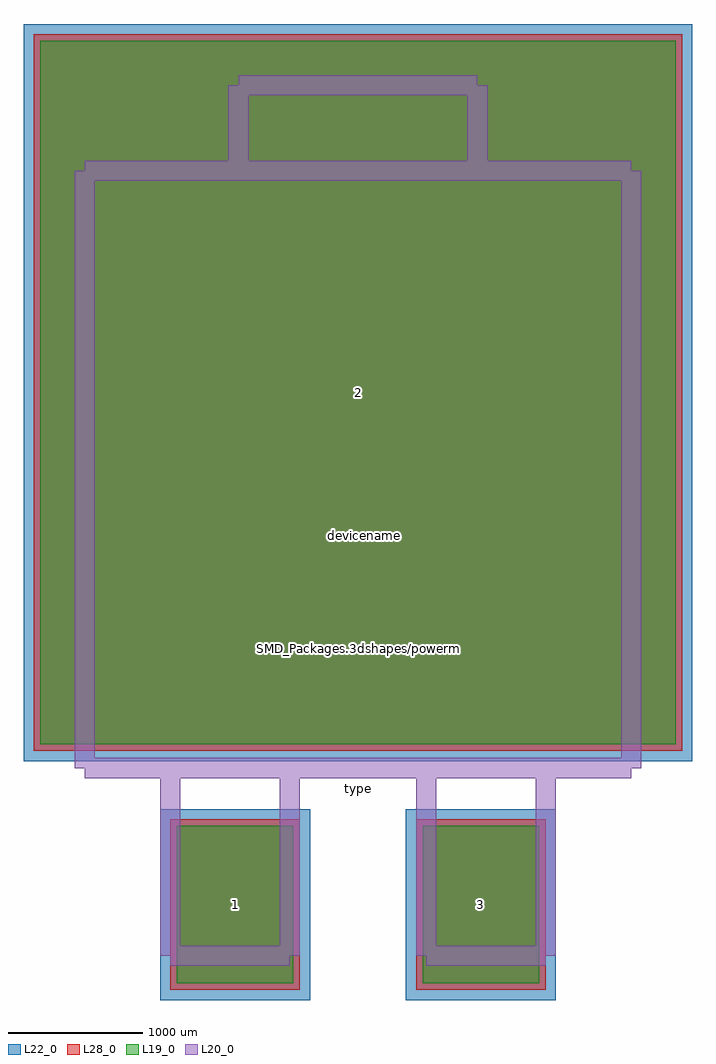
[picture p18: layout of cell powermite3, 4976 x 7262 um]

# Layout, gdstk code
import gdstk
lib = gdstk.Library(unit=1e-6, precision=1e-09)
def R(c, l, rs):  # rectangles x0, y0, x1, y1
    for r in rs: c.add(gdstk.rectangle(r[:2], r[2:], *l))
L19_0 = (19, 0)
L20_0 = (20, 0)
L22_0 = (22, 0)
L28_0 = (28, 0)

powermite3 = lib.new_cell('powermite3')
R(powermite3, L19_0, [(-1347,-2490,-481.8,-1320), (481.8,-2490,1347,-1320), (-2363,-712,2363,4522)])
R(powermite3, L22_0, [(-1472,-2615,-356.8,-1195), (356.8,-2615,1472,-1195), (-2488,-837,2488,4647)])
R(powermite3, L28_0, [(-1397,-2540,-431.8,-1270), (431.8,-2540,1397,-1270), (-2413,-762,2413,4572)])
powermite3.add(gdstk.FlexPath([(-508,-2286),(-508,-889)], 149.998, ends="flush", simple_path=True, layer=20, datatype=0))  # L20_0
powermite3.add(gdstk.FlexPath([(-1397,-2286),(-508,-2286)], 149.998, ends="flush", simple_path=True, layer=20, datatype=0))  # L20_0
powermite3.add(gdstk.FlexPath([(-1397,-2286),(-1397,-889)], 149.998, ends="flush", simple_path=True, layer=20, datatype=0))  # L20_0
powermite3.add(gdstk.FlexPath([(508,-2286),(508,-889)], 149.998, ends="flush", simple_path=True, layer=20, datatype=0))  # L20_0
powermite3.add(gdstk.FlexPath([(1397,-2286),(1397,-889)], 149.998, ends="flush", simple_path=True, layer=20, datatype=0))  # L20_0
powermite3.add(gdstk.FlexPath([(508,-2286),(1397,-2286)], 149.998, ends="flush", simple_path=True, layer=20, datatype=0))  # L20_0
powermite3.add(gdstk.FlexPath([(-2032,3556),(-2032,-889)], 149.998, ends="flush", simple_path=True, layer=20, datatype=0))  # L20_0
powermite3.add(gdstk.FlexPath([(2032,3556),(-2032,3556)], 149.998, ends="flush", simple_path=True, layer=20, datatype=0))  # L20_0
powermite3.add(gdstk.FlexPath([(2032,-889),(2032,3556)], 149.998, ends="flush", simple_path=True, layer=20, datatype=0))  # L20_0
powermite3.add(gdstk.FlexPath([(-2032,-889),(2032,-889)], 149.998, ends="flush", simple_path=True, layer=20, datatype=0))  # L20_0
powermite3.add(gdstk.FlexPath([(889,4191),(889,3556)], 149.998, ends="flush", simple_path=True, layer=20, datatype=0))  # L20_0
powermite3.add(gdstk.FlexPath([(-889,4191),(889,4191)], 149.998, ends="flush", simple_path=True, layer=20, datatype=0))  # L20_0
powermite3.add(gdstk.FlexPath([(-889,3556),(-889,4191)], 149.998, ends="flush", simple_path=True, layer=20, datatype=0))  # L20_0
powermite3.add(gdstk.Label('SMD_Packages.3dshapes/powermite3.wrl', (0,0), layer=12, texttype=0))
powermite3.add(gdstk.Label('3', (914.4,-1905), layer=28, texttype=0))
powermite3.add(gdstk.Label('2', (0,1905), layer=28, texttype=0))
powermite3.add(gdstk.Label('1', (-914.4,-1905), layer=28, texttype=0))
powermite3.add(gdstk.Label('type', (0,-1041.4), layer=9, texttype=0))
powermite3.add(gdstk.Label('devicename', (50.8,838.2), layer=9, texttype=0))

lib.write_gds('powermite3.gds')
